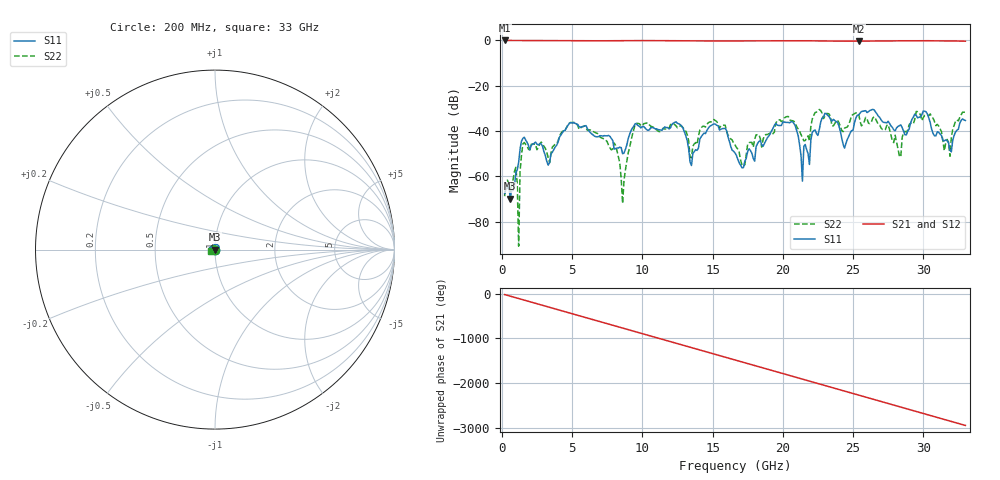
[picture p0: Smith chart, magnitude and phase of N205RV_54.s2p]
# GHZ S RI R 50
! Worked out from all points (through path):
!   329 points, 200 MHz to 33 GHz, reference 50 ohm
!   highest |S21| = -0.01 dB at 200 MHz (marker M1); lowest = -0.3 dB at 25.4 GHz (marker M2)
!   group delay of S21, straight-line fit = 248 ps
!   lowest |S11| = -69.8 dB at 600 MHz (marker M3), VSWR 1.00, Z = 50 + j0.0233 ohm
!   |S11| at or under -10 dB: start of sweep to end of sweep
!   |S22| runs from -90.8 to -30.5 dB; largest |S21 - S12| = 0.0019
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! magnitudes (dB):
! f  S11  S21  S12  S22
! 200 MHz  -67.6  0.0  0.0  -68.8
! 600 MHz  -69.8  0.0  0.0  -66.9
! 1 GHz  -58.5  0.0  0.0  -56.0
! 1.2 GHz  -53.9  0.0  0.0  -90.8
! 1.5 GHz  -43.3  0.0  0.0  -45.7
! 3.3 GHz  -55.0  -0.1  -0.1  -51.7
! 5.7 GHz  -38.1  -0.1  -0.1  -38.2
! 8.1 GHz  -47.7  -0.1  -0.1  -46.4
! 8.6 GHz  -50.0  -0.1  -0.1  -72.0
! 9.5 GHz  -36.7  -0.1  -0.1  -36.9
! 11.2 GHz  -39.5  -0.1  -0.1  -40.3
! 16.6 GHz  -49.7  -0.2  -0.2  -46.2
! 20.7 GHz  -36.0  -0.1  -0.1  -35.5
! 21.4 GHz  -62.2  -0.2  -0.2  -42.9
! 21.5 GHz  -46.8  -0.1  -0.1  -44.3
! 22.1 GHz  -40.6  -0.2  -0.2  -34.7
! 25.4 GHz  -32.9  -0.3  -0.3  -32.3
! 27.6 GHz  -36.6  -0.2  -0.2  -39.3
! 28.4 GHz  -37.3  -0.2  -0.2  -51.5
! 30.5 GHz  -36.4  -0.2  -0.2  -32.4
! 31.9 GHz  -48.5  -0.2  -0.2  -51.1
! 33 GHz  -35.3  -0.3  -0.3  -31.7
